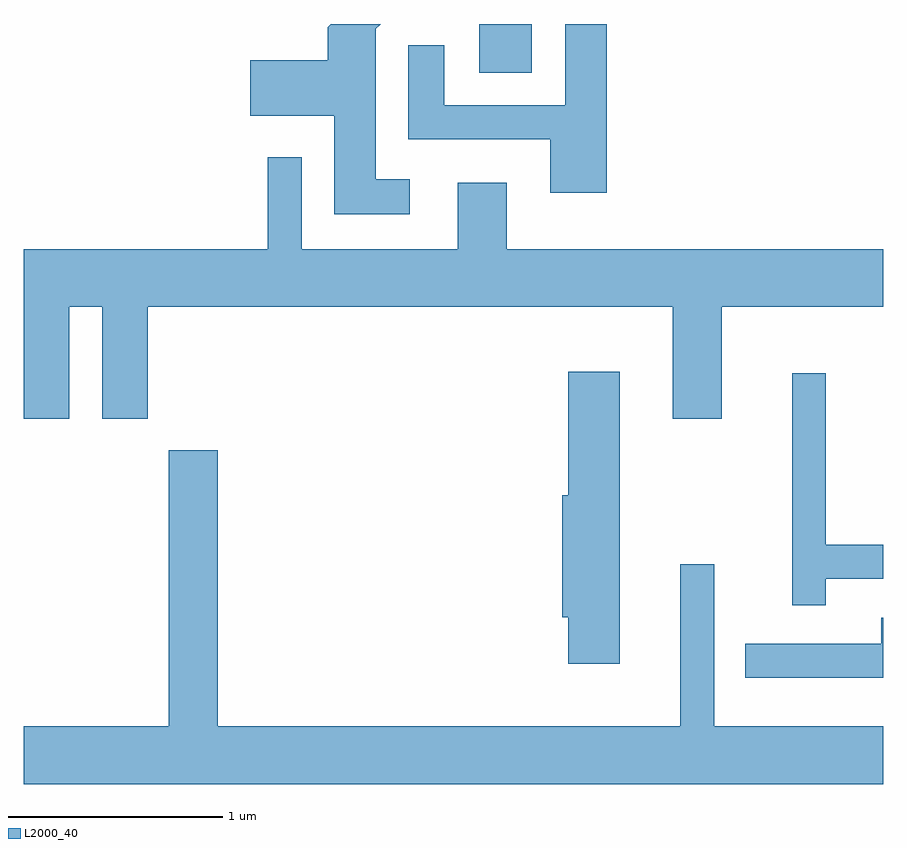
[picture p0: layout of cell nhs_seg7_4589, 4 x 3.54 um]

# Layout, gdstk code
import gdstk
lib = gdstk.Library(unit=1e-6, precision=1e-09)
def R(c, l, rs):  # rectangles x0, y0, x1, y1
    for r in rs: c.add(gdstk.rectangle(r[:2], r[2:], *l))
def P(c, l, *ps):  # polygons
    for p in ps: c.add(gdstk.Polygon(p, *l))
L2000_40 = (2000, 40)

nhs_seg7_4589 = lib.new_cell('nhs_seg7_4589')
R(nhs_seg7_4589, L2000_40, [(327.731,1762.026,327.974,1762.252)])
P(nhs_seg7_4589, L2000_40, [(328.324,1762.252),(328.131,1762.252),(328.131,1761.874),(327.569,1761.874),(327.569,1762.153),(327.401,1762.153),(327.401,1761.716),(328.061,1761.716),(328.061,1761.466),(328.324,1761.466)],
  [(327.408,1761.529),(327.249,1761.529),(327.249,1762.229),(327.272,1762.252),(327.041,1762.252),(327.026,1762.237),(327.026,1762.084),(326.666,1762.084),(326.666,1761.826),(327.056,1761.826),(327.056,1761.366),(327.408,1761.366)],
  [(325.824,1760.936),(325.976,1760.936),(325.976,1760.416),(326.189,1760.416),(326.189,1760.936),(328.631,1760.936),(328.631,1760.416),(328.859,1760.416),(328.859,1760.936),(329.611,1760.936),(329.611,1761.204),(327.859,1761.204),(327.859,1761.514),(327.631,1761.514),(327.631,1761.204),(326.904,1761.204),(326.904,1761.633),(326.746,1761.633),(326.746,1761.204),(325.611,1761.204),(325.611,1760.416),(325.824,1760.416)],
  [(328.384,1760.634),(328.146,1760.634),(328.146,1760.059),(328.116,1760.059),(328.116,1759.491),(328.146,1759.491),(328.146,1759.276),(328.384,1759.276)],
  [(329.344,1759.671),(329.611,1759.671),(329.611,1759.829),(329.344,1759.829),(329.344,1760.628),(329.186,1760.628),(329.186,1759.548),(329.344,1759.548)],
  [(329.611,1758.984),(328.824,1758.984),(328.824,1759.738),(328.666,1759.738),(328.666,1758.984),(326.514,1758.984),(326.514,1760.269),(326.286,1760.269),(326.286,1758.984),(325.611,1758.984),(325.611,1758.716),(329.611,1758.716)],
  [(329.611,1759.489),(329.601,1759.489),(329.601,1759.369),(328.968,1759.369),(328.968,1759.211),(329.611,1759.211)])

lib.write_gds('nhs_seg7_4589.gds')
